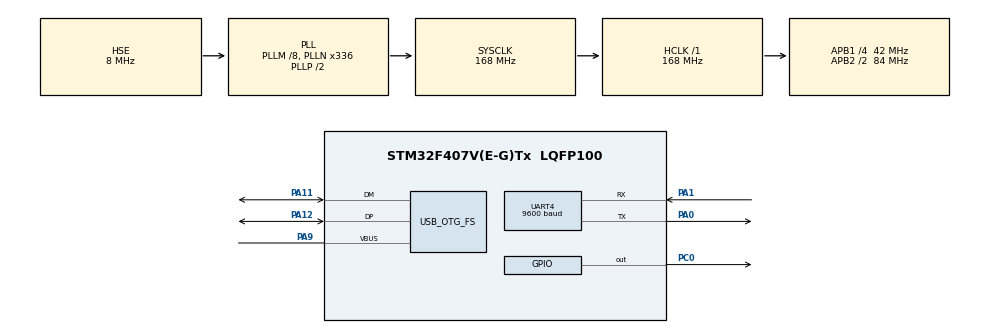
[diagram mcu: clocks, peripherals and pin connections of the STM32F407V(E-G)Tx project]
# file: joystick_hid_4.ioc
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Dma.Request0=UART4_RX
Dma.UART4_RX.0.Direction=DMA_PERIPH_TO_MEMORY
Dma.UART4_RX.0.FIFOMode=DMA_FIFOMODE_DISABLE
Dma.UART4_RX.0.Instance=DMA1_Stream2
Dma.UART4_RX.0.MemDataAlignment=DMA_MDATAALIGN_BYTE
Dma.UART4_RX.0.MemInc=DMA_MINC_ENABLE
Dma.UART4_RX.0.Mode=DMA_NORMAL
Dma.UART4_RX.0.PeriphDataAlignment=DMA_PDATAALIGN_BYTE
Dma.UART4_RX.0.PeriphInc=DMA_PINC_DISABLE
Dma.UART4_RX.0.Priority=DMA_PRIORITY_LOW
Mcu.Family=STM32F4
Mcu.Name=STM32F407V(E-G)Tx
Mcu.Package=LQFP100
NVIC.DMA1_Stream2_IRQn=true\:0\:0\:false\:false\:true\:false\:true\:true
NVIC.OTG_FS_IRQn=true\:0\:0\:false\:false\:true\:true\:true\:true
NVIC.PriorityGroup=NVIC_PRIORITYGROUP_0
PA0-WKUP.Mode=Asynchronous
PA0-WKUP.Signal=UART4_TX
PA1.Mode=Asynchronous
PA1.Signal=UART4_RX
PA11.Mode=Device_Only
PA11.Signal=USB_OTG_FS_DM
PA12.Mode=Device_Only
PA12.Signal=USB_OTG_FS_DP
PA9.Mode=Activate_VBUS
PA9.Signal=USB_OTG_FS_VBUS
PC0.Signal=GPIO_Output
PH0-OSC_IN.Mode=HSE-External-Oscillator
PH0-OSC_IN.Signal=RCC_OSC_IN
PH1-OSC_OUT.Mode=HSE-External-Oscillator
PH1-OSC_OUT.Signal=RCC_OSC_OUT
ProjectManager.HeapSize=0x200
ProjectManager.StackSize=0x400
ProjectManager.TargetToolchain=STM32CubeIDE
RCC.48MHZClocksFreq_Value=48000000
RCC.AHBFreq_Value=168000000
RCC.APB1CLKDivider=RCC_HCLK_DIV4
RCC.APB1Freq_Value=42000000
RCC.APB1TimFreq_Value=84000000
RCC.APB2CLKDivider=RCC_HCLK_DIV2
RCC.APB2Freq_Value=84000000
RCC.APB2TimFreq_Value=168000000
RCC.CortexFreq_Value=168000000
RCC.HCLKFreq_Value=168000000
RCC.HSE_VALUE=8000000
RCC.HSI_VALUE=16000000
RCC.LSE_VALUE=32768
RCC.PLLM=8
RCC.PLLN=336
RCC.PLLQ=7
RCC.SYSCLKFreq_VALUE=168000000
RCC.SYSCLKSource=RCC_SYSCLKSOURCE_PLLCLK
RCC.VCOOutputFreq_Value=336000000
UART4.BaudRate=9600
UART4.Mode=MODE_RX
UART4.VirtualMode=Asynchronous
USB_DEVICE.CLASS_NAME_FS=HID
USB_DEVICE.VirtualMode-HID_FS=Hid
USB_DEVICE.VirtualModeFS=Hid_FS
USB_OTG_FS.VirtualMode=Device_Only
VP_USB_DEVICE_VS_USB_DEVICE_HID_FS.Mode=HID_FS
board=STM32F407G-DISC1

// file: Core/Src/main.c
/* USER CODE BEGIN Header */
/**
  ******************************************************************************
  * @file           : main.c
  * @brief          : Main program body
  ******************************************************************************
  * @attention
  *
  * Copyright (c) 2022 STMicroelectronics.
  * All rights reserved.
  *
  * This software is licensed under terms that can be found in the LICENSE file
  * in the root directory of this software component.
  * If no LICENSE file comes with this software, it is provided AS-IS.
  *
  ******************************************************************************
  */
/* USER CODE END Header */
#include "main.h"
#include "usb_device.h"

/* USER CODE BEGIN Includes */
#include "usbd_hid.h"
/* USER CODE END Includes */

UART_HandleTypeDef huart4;
DMA_HandleTypeDef hdma_uart4_rx;

/* USER CODE BEGIN PV */
uint16_t report_data[5] = {0,0,0,0,0};
/* USER CODE END PV */

void SystemClock_Config(void);
static void MX_GPIO_Init(void);
static void MX_DMA_Init(void);
static void MX_UART4_Init(void);

/* USER CODE BEGIN 0 */
uint8_t dataflag=0;
uint8_t datapack [4];
typedef struct {
	uint8_t report_id;
	uint8_t left_x;
	uint8_t left_y;
	uint8_t buttons;

}gamepadhid;
gamepadhid gamepad = {1,0,0,0};
void HAL_UART_RxCpltCallback(UART_HandleTypeDef *huart) {

	HAL_UART_Receive_DMA(&huart4, datapack, 4);
	dataflag=1;

}
/* USER CODE END 0 */

int main(void)
{

  /* MCU Configuration--------------------------------------------------------*/

  /* Reset of all peripherals, Initializes the Flash interface and the Systick. */
  HAL_Init();

  /* Configure the system clock */
  SystemClock_Config();

  /* Initialize all configured peripherals */
  MX_GPIO_Init();
  MX_DMA_Init();
  MX_UART4_Init();
  MX_USB_DEVICE_Init();
  /* USER CODE BEGIN 2 */
  extern USBD_HandleTypeDef hUsbDeviceFS;
  HAL_UART_Receive_DMA(&huart4, datapack, 4);
  /* USER CODE END 2 */

  /* Infinite loop */
  while (1)
  {

    /* USER CODE BEGIN 3 */
	  if (dataflag==1){

		  if(datapack[0]==0 && datapack[3]==8){
			  gamepad.left_x = datapack[1];
			  gamepad.left_y = datapack[2];

			  USBD_HID_SendReport(&hUsbDeviceFS, &gamepad, 5);
		  }

	  }

  }
  /* USER CODE END 3 */
}

void SystemClock_Config(void)
{
  RCC_OscInitTypeDef RCC_OscInitStruct = {0};
  RCC_ClkInitTypeDef RCC_ClkInitStruct = {0};

  /** Configure the main internal regulator output voltage
  */
  __HAL_RCC_PWR_CLK_ENABLE();
  __HAL_PWR_VOLTAGESCALING_CONFIG(PWR_REGULATOR_VOLTAGE_SCALE1);

  /** Initializes the RCC Oscillators according to the specified parameters
  * in the RCC_OscInitTypeDef structure.
  */
  RCC_OscInitStruct.OscillatorType = RCC_OSCILLATORTYPE_HSE;
  RCC_OscInitStruct.HSEState = RCC_HSE_ON;
  RCC_OscInitStruct.PLL.PLLState = RCC_PLL_ON;
  RCC_OscInitStruct.PLL.PLLSource = RCC_PLLSOURCE_HSE;
  RCC_OscInitStruct.PLL.PLLM = 8;
  RCC_OscInitStruct.PLL.PLLN = 336;
  RCC_OscInitStruct.PLL.PLLP = RCC_PLLP_DIV2;
  RCC_OscInitStruct.PLL.PLLQ = 7;
  if (HAL_RCC_OscConfig(&RCC_OscInitStruct) != HAL_OK)
  {
    Error_Handler();
  }

  /** Initializes the CPU, AHB and APB buses clocks
  */
  RCC_ClkInitStruct.ClockType = RCC_CLOCKTYPE_HCLK|RCC_CLOCKTYPE_SYSCLK
                              |RCC_CLOCKTYPE_PCLK1|RCC_CLOCKTYPE_PCLK2;
  RCC_ClkInitStruct.SYSCLKSource = RCC_SYSCLKSOURCE_PLLCLK;
  RCC_ClkInitStruct.AHBCLKDivider = RCC_SYSCLK_DIV1;
  RCC_ClkInitStruct.APB1CLKDivider = RCC_HCLK_DIV4;
  RCC_ClkInitStruct.APB2CLKDivider = RCC_HCLK_DIV2;

  if (HAL_RCC_ClockConfig(&RCC_ClkInitStruct, FLASH_LATENCY_5) != HAL_OK)
  {
    Error_Handler();
  }
}

static void MX_UART4_Init(void)
{

  huart4.Instance = UART4;
  huart4.Init.BaudRate = 9600;
  huart4.Init.WordLength = UART_WORDLENGTH_8B;
  huart4.Init.StopBits = UART_STOPBITS_1;
  huart4.Init.Parity = UART_PARITY_NONE;
  huart4.Init.Mode = UART_MODE_RX;
  huart4.Init.HwFlowCtl = UART_HWCONTROL_NONE;
  huart4.Init.OverSampling = UART_OVERSAMPLING_16;
  if (HAL_UART_Init(&huart4) != HAL_OK)
  {
    Error_Handler();
  }

}

static void MX_DMA_Init(void)
{

  /* DMA controller clock enable */
  __HAL_RCC_DMA1_CLK_ENABLE();

  /* DMA interrupt init */
  /* DMA1_Stream2_IRQn interrupt configuration */
  HAL_NVIC_SetPriority(DMA1_Stream2_IRQn, 0, 0);
  HAL_NVIC_EnableIRQ(DMA1_Stream2_IRQn);

}

static void MX_GPIO_Init(void)
{
  GPIO_InitTypeDef GPIO_InitStruct = {0};

  /* GPIO Ports Clock Enable */
  __HAL_RCC_GPIOH_CLK_ENABLE();
  __HAL_RCC_GPIOC_CLK_ENABLE();
  __HAL_RCC_GPIOA_CLK_ENABLE();

  /*Configure GPIO pin Output Level */
  HAL_GPIO_WritePin(GPIOC, GPIO_PIN_0, GPIO_PIN_RESET);

  /*Configure GPIO pin : PC0 */
  GPIO_InitStruct.Pin = GPIO_PIN_0;
  GPIO_InitStruct.Mode = GPIO_MODE_OUTPUT_PP;
  GPIO_InitStruct.Pull = GPIO_NOPULL;
  GPIO_InitStruct.Speed = GPIO_SPEED_FREQ_LOW;
  HAL_GPIO_Init(GPIOC, &GPIO_InitStruct);

}

void Error_Handler(void)
{
  __disable_irq();
  while (1)
  {
  }
}
